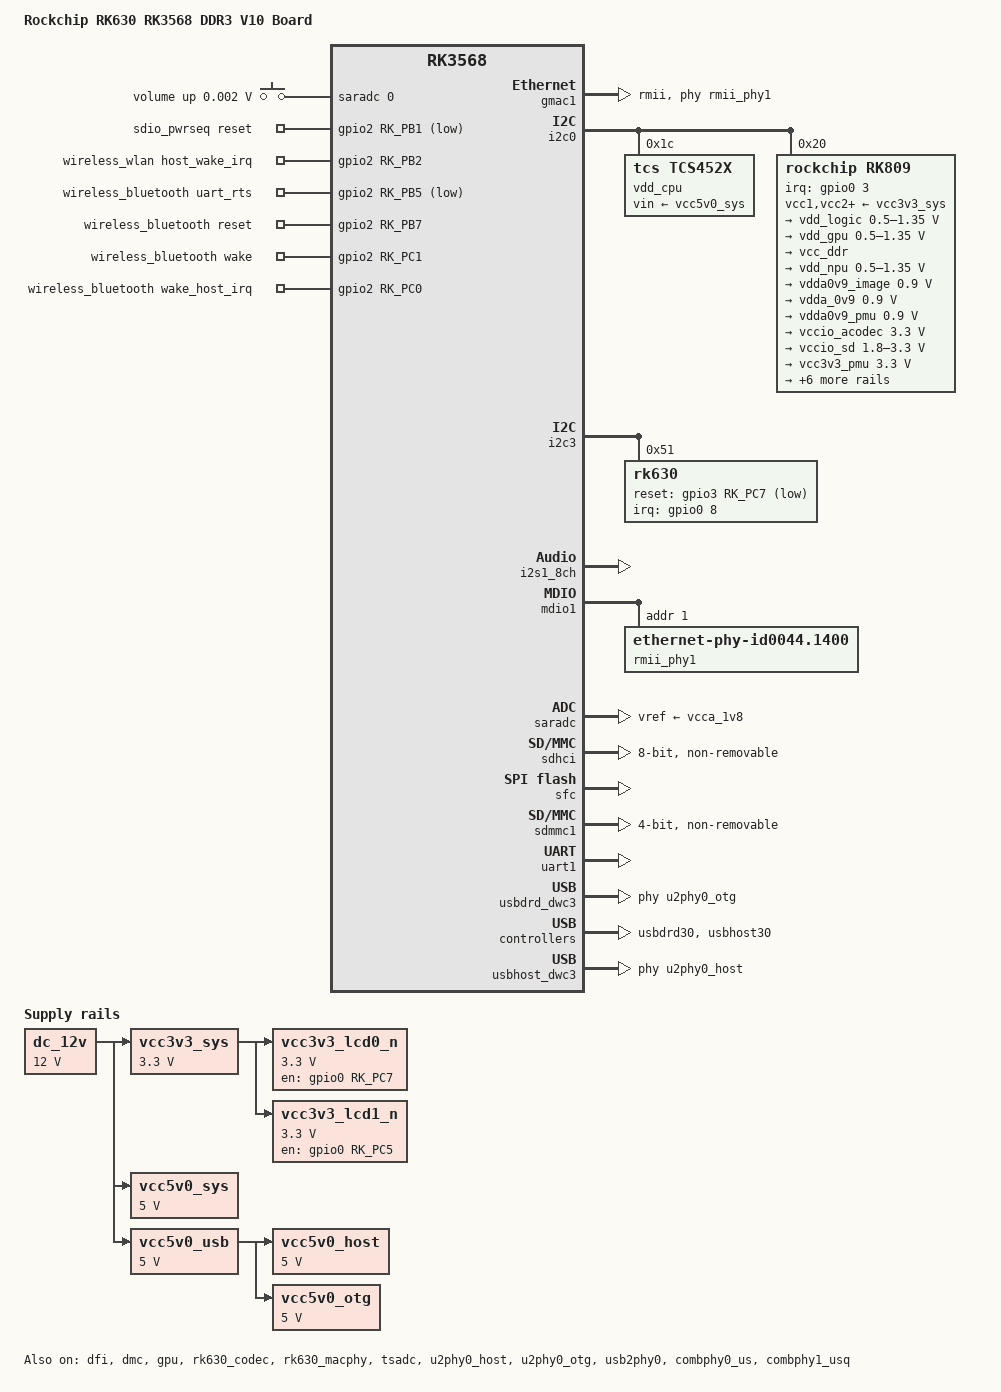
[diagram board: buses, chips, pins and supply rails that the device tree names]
// SPDX-License-Identifier: (GPL-2.0+ OR MIT)
/*
 * Copyright (c) 2022 Rockchip Electronics Co., Ltd.
 *
 */

/dts-v1/;

#include <dt-bindings/gpio/gpio.h>
#include <dt-bindings/pwm/pwm.h>
#include <dt-bindings/pinctrl/rockchip.h>
#include <dt-bindings/input/rk-input.h>
#include <dt-bindings/display/drm_mipi_dsi.h>
#include <dt-bindings/sensor-dev.h>
#include "rk3568.dtsi"

/ {
	model = "Rockchip RK630 RK3568 DDR3 V10 Board";
	compatible = "rockchip,rk630-rk3568-ddr3-v10", "rockchip,rk3568";

	chosen: chosen {
		bootargs = "earlycon=uart8250,mmio32,0xfe660000 console=ttyFIQ0 root=PARTUUID=614e0000-0000 rw rootwait";
	};

	fiq-debugger {
		compatible = "rockchip,fiq-debugger";
		rockchip,serial-id = <2>;
		rockchip,wake-irq = <0>;
		/* If enable uart uses irq instead of fiq */
		rockchip,irq-mode-enable = <1>;
		rockchip,baudrate = <1500000>;  /* Only 115200 and 1500000 */
		interrupts = <GIC_SPI 252 IRQ_TYPE_LEVEL_LOW>;
		pinctrl-names = "default";
		pinctrl-0 = <&uart2m0_xfer>;
		status = "okay";
	};

	debug: debug@fd904000 {
		compatible = "rockchip,debug";
		reg = <0x0 0xfd904000 0x0 0x1000>,
			<0x0 0xfd905000 0x0 0x1000>,
			<0x0 0xfd906000 0x0 0x1000>,
			<0x0 0xfd907000 0x0 0x1000>;
	};

	cspmu: cspmu@fd90c000 {
		compatible = "rockchip,cspmu";
		reg = <0x0 0xfd90c000 0x0 0x1000>,
			<0x0 0xfd90d000 0x0 0x1000>,
			<0x0 0xfd90e000 0x0 0x1000>,
			<0x0 0xfd90f000 0x0 0x1000>;
	};

	adc_keys: adc-keys {
		compatible = "adc-keys";
		io-channels = <&saradc 0>;
		io-channel-names = "buttons";
		keyup-threshold-microvolt = <1800000>;
		poll-interval = <100>;

		vol-up-key {
			label = "volume up";
			linux,code = <KEY_VOLUMEUP>;
			press-threshold-microvolt = <1750>;
		};
	};

	dc_12v: dc-12v {
		compatible = "regulator-fixed";
		regulator-name = "dc_12v";
		regulator-always-on;
		regulator-boot-on;
		regulator-min-microvolt = <12000000>;
		regulator-max-microvolt = <12000000>;
	};

	rk630_sound: rk630-sound {
		status = "okay";
		compatible = "simple-audio-card";
		simple-audio-card,format = "i2s";
		simple-audio-card,name = "rockchip,rk630-codec";
		simple-audio-card,mclk-fs = <256>;
		simple-audio-card,cpu {
			sound-dai = <&i2s1_8ch>;
		};
		simple-audio-card,codec {
			sound-dai = <&rk630_codec>;
		};
	};

	vcc3v3_sys: vcc3v3-sys {
		compatible = "regulator-fixed";
		regulator-name = "vcc3v3_sys";
		regulator-always-on;
		regulator-boot-on;
		regulator-min-microvolt = <3300000>;
		regulator-max-microvolt = <3300000>;
		vin-supply = <&dc_12v>;
	};

	vcc5v0_sys: vcc5v0-sys {
		compatible = "regulator-fixed";
		regulator-name = "vcc5v0_sys";
		regulator-always-on;
		regulator-boot-on;
		regulator-min-microvolt = <5000000>;
		regulator-max-microvolt = <5000000>;
		vin-supply = <&dc_12v>;
	};

	vcc5v0_usb: vcc5v0-usb {
		compatible = "regulator-fixed";
		regulator-name = "vcc5v0_usb";
		regulator-always-on;
		regulator-boot-on;
		regulator-min-microvolt = <5000000>;
		regulator-max-microvolt = <5000000>;
		vin-supply = <&dc_12v>;
	};

	vcc5v0_host: vcc5v0-host-regulator {
		compatible = "regulator-fixed";
		regulator-name = "vcc5v0_host";
		regulator-boot-on;
		regulator-always-on;
		regulator-min-microvolt = <5000000>;
		regulator-max-microvolt = <5000000>;
		vin-supply = <&vcc5v0_usb>;
	};

	vcc5v0_otg: vcc5v0-otg-regulator {
		compatible = "regulator-fixed";
		regulator-name = "vcc5v0_otg";
		regulator-boot-on;
		regulator-always-on;
		regulator-min-microvolt = <5000000>;
		regulator-max-microvolt = <5000000>;
		vin-supply = <&vcc5v0_usb>;
	};

	vcc3v3_lcd0_n: vcc3v3-lcd0-n {
		compatible = "regulator-fixed";
		regulator-name = "vcc3v3_lcd0_n";
		regulator-boot-on;
		regulator-min-microvolt = <3300000>;
		regulator-max-microvolt = <3300000>;
		enable-active-high;
		gpio = <&gpio0 RK_PC7 GPIO_ACTIVE_HIGH>;
		vin-supply = <&vcc3v3_sys>;

		regulator-state-mem {
			regulator-off-in-suspend;
		};
	};

	vcc3v3_lcd1_n: vcc3v3-lcd1-n {
		compatible = "regulator-fixed";
		regulator-name = "vcc3v3_lcd1_n";
		regulator-boot-on;
		regulator-min-microvolt = <3300000>;
		regulator-max-microvolt = <3300000>;
		enable-active-high;
		gpio = <&gpio0 RK_PC5 GPIO_ACTIVE_HIGH>;
		vin-supply = <&vcc3v3_sys>;

		regulator-state-mem {
			regulator-off-in-suspend;
		};
	};

	sdio_pwrseq: sdio-pwrseq {
		compatible = "mmc-pwrseq-simple";
		clocks = <&pmucru CLK_RTC_32K>;
		clock-names = "ext_clock";
		pinctrl-names = "default";
		pinctrl-0 = <&wifi_enable_h &wifi_32k>;

		/*
		 * On the module itself this is one of these (depending
		 * on the actual card populated):
		 * - SDIO_RESET_L_WL_REG_ON
		 * - PDN (power down when low)
		 */
		post-power-on-delay-ms = <200>;
		reset-gpios = <&gpio2 RK_PB1 GPIO_ACTIVE_LOW>;
	};

	wireless_wlan: wireless-wlan {
		compatible = "wlan-platdata";
		rockchip,grf = <&grf>;
		wifi_chip_type = "ap6398s";
		status = "okay";
	};

	wireless_bluetooth: wireless-bluetooth {
		compatible = "bluetooth-platdata";
		clocks = <&pmucru CLK_RTC_32K>;
		clock-names = "ext_clock";
		uart_rts_gpios = <&gpio2 RK_PB5 GPIO_ACTIVE_LOW>;
		pinctrl-names = "default", "rts_gpio";
		pinctrl-0 = <&uart1m0_rtsn>;
		pinctrl-1 = <&uart1_gpios>;
		BT,reset_gpio    = <&gpio2 RK_PB7 GPIO_ACTIVE_HIGH>;
		BT,wake_gpio     = <&gpio2 RK_PC1 GPIO_ACTIVE_HIGH>;
		BT,wake_host_irq = <&gpio2 RK_PC0 GPIO_ACTIVE_HIGH>;
		status = "okay";
	};
};

&reserved_memory {
	ramoops: ramoops@110000 {
		compatible = "ramoops";
		reg = <0x0 0x110000 0x0 0xf0000>;
		record-size = <0x20000>;
		console-size = <0x80000>;
		ftrace-size = <0x00000>;
		pmsg-size = <0x50000>;
	};
};

&cpu0 {
	cpu-supply = <&vdd_cpu>;
};

&dfi {
	status = "okay";
};

&dmc {
	center-supply = <&vdd_logic>;
	status = "okay";
};

&gmac1_clkin {
	clock-frequency = <50000000>;
};

&gmac1 {
	phy-mode = "rmii";
	clock_in_out = "input";

	assigned-clocks = <&cru SCLK_GMAC1_RX_TX>, <&cru SCLK_GMAC1>;
	assigned-clock-parents = <&cru SCLK_GMAC1_RMII_SPEED>, <&gmac1_clkin>;

	pinctrl-names = "default";
	pinctrl-0 = <&gmac1m1_miim
		     &gmac1m1_tx_bus2
		     &gmac1m1_rx_bus2
		     &gmac1m1_clkinout>;

	phy-handle = <&rmii_phy1>;
	status = "okay";
};

&gpu {
	mali-supply = <&vdd_gpu>;
	status = "okay";
};

&i2c0 {
	status = "okay";

	vdd_cpu: tcs4525@1c {
		compatible = "tcs,tcs452x";
		reg = <0x1c>;
		vin-supply = <&vcc5v0_sys>;
		regulator-compatible = "fan53555-reg";
		regulator-name = "vdd_cpu";
		regulator-min-microvolt = <712500>;
		regulator-max-microvolt = <1390000>;
		regulator-init-microvolt = <900000>;
		regulator-ramp-delay = <2300>;
		fcs,suspend-voltage-selector = <1>;
		regulator-boot-on;
		regulator-always-on;
		regulator-state-mem {
			regulator-off-in-suspend;
		};
	};

	rk809: pmic@20 {
		compatible = "rockchip,rk809";
		reg = <0x20>;
		interrupt-parent = <&gpio0>;
		interrupts = <3 IRQ_TYPE_LEVEL_LOW>;

		pinctrl-names = "default", "pmic-sleep",
				"pmic-power-off", "pmic-reset";
		pinctrl-0 = <&pmic_int>;
		pinctrl-1 = <&soc_slppin_slp>, <&rk817_slppin_slp>;
		pinctrl-2 = <&soc_slppin_gpio>, <&rk817_slppin_pwrdn>;
		pinctrl-3 = <&soc_slppin_gpio>, <&rk817_slppin_rst>;

		rockchip,system-power-controller;
		wakeup-source;
		#clock-cells = <1>;
		clock-output-names = "rk808-clkout1", "rk808-clkout2";
		/* 1: rst regs (default in codes), 0: rst the pmic */
		pmic-reset-func = <0>;
		/* not save the PMIC_POWER_EN register in uboot */
		not-save-power-en = <1>;

		vcc1-supply = <&vcc3v3_sys>;
		vcc2-supply = <&vcc3v3_sys>;
		vcc3-supply = <&vcc3v3_sys>;
		vcc4-supply = <&vcc3v3_sys>;
		vcc5-supply = <&vcc3v3_sys>;
		vcc6-supply = <&vcc3v3_sys>;
		vcc7-supply = <&vcc3v3_sys>;
		vcc8-supply = <&vcc3v3_sys>;
		vcc9-supply = <&vcc3v3_sys>;

		pwrkey {
			status = "okay";
		};

		pinctrl_rk8xx: pinctrl_rk8xx {
			gpio-controller;
			#gpio-cells = <2>;

			rk817_slppin_null: rk817_slppin_null {
				pins = "gpio_slp";
				function = "pin_fun0";
			};

			rk817_slppin_slp: rk817_slppin_slp {
				pins = "gpio_slp";
				function = "pin_fun1";
			};

			rk817_slppin_pwrdn: rk817_slppin_pwrdn {
				pins = "gpio_slp";
				function = "pin_fun2";
			};

			rk817_slppin_rst: rk817_slppin_rst {
				pins = "gpio_slp";
				function = "pin_fun3";
			};
		};

		regulators {
			vdd_logic: DCDC_REG1 {
				regulator-always-on;
				regulator-boot-on;
				regulator-min-microvolt = <500000>;
				regulator-max-microvolt = <1350000>;
				regulator-init-microvolt = <900000>;
				regulator-ramp-delay = <6001>;
				regulator-initial-mode = <0x2>;
				regulator-name = "vdd_logic";
				regulator-state-mem {
					regulator-off-in-suspend;
				};
			};

			vdd_gpu: DCDC_REG2 {
				regulator-always-on;
				regulator-boot-on;
				regulator-min-microvolt = <500000>;
				regulator-max-microvolt = <1350000>;
				regulator-init-microvolt = <900000>;
				regulator-ramp-delay = <6001>;
				regulator-initial-mode = <0x2>;
				regulator-name = "vdd_gpu";
				regulator-state-mem {
					regulator-off-in-suspend;
				};
			};

			vcc_ddr: DCDC_REG3 {
				regulator-always-on;
				regulator-boot-on;
				regulator-initial-mode = <0x2>;
				regulator-name = "vcc_ddr";
				regulator-state-mem {
					regulator-on-in-suspend;
				};
			};

			vdd_npu: DCDC_REG4 {
				regulator-always-on;
				regulator-boot-on;
				regulator-min-microvolt = <500000>;
				regulator-max-microvolt = <1350000>;
				regulator-init-microvolt = <900000>;
				regulator-ramp-delay = <6001>;
				regulator-initial-mode = <0x2>;
				regulator-name = "vdd_npu";
				regulator-state-mem {
					regulator-off-in-suspend;
				};
			};

			vdda0v9_image: LDO_REG1 {
				regulator-boot-on;
				regulator-always-on;
				regulator-min-microvolt = <900000>;
				regulator-max-microvolt = <900000>;
				regulator-name = "vdda0v9_image";
				regulator-state-mem {
					regulator-off-in-suspend;
				};
			};

			vdda_0v9: LDO_REG2 {
				regulator-always-on;
				regulator-boot-on;
				regulator-min-microvolt = <900000>;
				regulator-max-microvolt = <900000>;
				regulator-name = "vdda_0v9";
				regulator-state-mem {
					regulator-off-in-suspend;
				};
			};

			vdda0v9_pmu: LDO_REG3 {
				regulator-always-on;
				regulator-boot-on;
				regulator-min-microvolt = <900000>;
				regulator-max-microvolt = <900000>;
				regulator-name = "vdda0v9_pmu";
				regulator-state-mem {
					regulator-on-in-suspend;
					regulator-suspend-microvolt = <900000>;
				};
			};

			vccio_acodec: LDO_REG4 {
				regulator-always-on;
				regulator-boot-on;
				regulator-min-microvolt = <3300000>;
				regulator-max-microvolt = <3300000>;
				regulator-name = "vccio_acodec";
				regulator-state-mem {
					regulator-off-in-suspend;
				};
			};

			vccio_sd: LDO_REG5 {
				regulator-always-on;
				regulator-boot-on;
				regulator-min-microvolt = <1800000>;
				regulator-max-microvolt = <3300000>;
				regulator-name = "vccio_sd";
				regulator-state-mem {
					regulator-off-in-suspend;
				};
			};

			vcc3v3_pmu: LDO_REG6 {
				regulator-always-on;
				regulator-boot-on;
				regulator-min-microvolt = <3300000>;
				regulator-max-microvolt = <3300000>;
				regulator-name = "vcc3v3_pmu";
				regulator-state-mem {
					regulator-on-in-suspend;
					regulator-suspend-microvolt = <3300000>;
				};
			};

			vcca_1v8: LDO_REG7 {
				regulator-always-on;
				regulator-boot-on;
				regulator-min-microvolt = <1800000>;
				regulator-max-microvolt = <1800000>;
				regulator-name = "vcca_1v8";
				regulator-state-mem {
					regulator-off-in-suspend;
				};
			};

			vcca1v8_pmu: LDO_REG8 {
				regulator-always-on;
				regulator-boot-on;
				regulator-min-microvolt = <1800000>;
				regulator-max-microvolt = <1800000>;
				regulator-name = "vcca1v8_pmu";
				regulator-state-mem {
					regulator-on-in-suspend;
					regulator-suspend-microvolt = <1800000>;
				};
			};

			vcca1v8_image: LDO_REG9 {
				regulator-always-on;
				regulator-boot-on;
				regulator-min-microvolt = <1800000>;
				regulator-max-microvolt = <1800000>;
				regulator-name = "vcca1v8_image";
				regulator-state-mem {
					regulator-off-in-suspend;
				};
			};

			vcc_1v8: DCDC_REG5 {
				regulator-always-on;
				regulator-boot-on;
				regulator-min-microvolt = <1800000>;
				regulator-max-microvolt = <1800000>;
				regulator-name = "vcc_1v8";
				regulator-state-mem {
					regulator-off-in-suspend;
				};
			};

			vcc_3v3: SWITCH_REG1 {
				regulator-always-on;
				regulator-boot-on;
				regulator-name = "vcc_3v3";
				regulator-state-mem {
					regulator-off-in-suspend;
				};
			};

			vcc3v3_sd: SWITCH_REG2 {
				regulator-always-on;
				regulator-boot-on;
				regulator-name = "vcc3v3_sd";
				regulator-state-mem {
					regulator-off-in-suspend;
				};
			};
		};
	};
};

&i2c3 {
	status = "okay";

	rk630: rk630@51 {
		reg = <0x51>;
		interrupt-parent = <&gpio0>;
		interrupts = <8 IRQ_TYPE_LEVEL_LOW>;
		reset-gpios = <&gpio3 RK_PC7 GPIO_ACTIVE_LOW>;
		clocks = <&cru CLK_MAC1_OUT>;
		clock-names = "ref";
		assigned-clocks = <&cru CLK_MAC1_OUT>;
		assigned-clock-rates = <25000000>;
		pinctrl-names = "default";
		pinctrl-0 = <&eth1m1_pins>;
		status = "okay";
	};
};

&i2s1_8ch {
	status = "okay";
	#sound-dai-cells = <0>;
	rockchip,clk-trcm = <1>;
	pinctrl-names = "default";
	pinctrl-0 = <&i2s1m0_sclktx
		     &i2s1m0_lrcktx
		     &i2s1m0_sdi0
		     &i2s1m0_sdo0>;
};

#include "rk630.dtsi"

&mdio1 {
	rmii_phy1: phy@1 {
		compatible = "ethernet-phy-id0044.1400", "ethernet-phy-ieee802.3-c22";
		reg = <0x1>;
	};
};

&pinctrl {
	pmic {
		pmic_int: pmic_int {
			rockchip,pins =
				<0 RK_PA3 RK_FUNC_GPIO &pcfg_pull_up>;
		};

		soc_slppin_gpio: soc_slppin_gpio {
			rockchip,pins =
				<0 RK_PA2 RK_FUNC_GPIO &pcfg_output_low_pull_down>;
		};

		soc_slppin_slp: soc_slppin_slp {
			rockchip,pins =
				<0 RK_PA2 1 &pcfg_pull_up>;
		};

		soc_slppin_rst: soc_slppin_rst {
			rockchip,pins =
				<0 RK_PA2 2 &pcfg_pull_none>;
		};
	};

	sdio-pwrseq {
		wifi_enable_h: wifi-enable-h {
			rockchip,pins = <2 RK_PB1 RK_FUNC_GPIO &pcfg_pull_none>;
		};

		wifi_32k: wifi-32k {
			rockchip,pins = <2 RK_PC6 1 &pcfg_pull_none>;
		};
	};

	wireless-wlan {
		wifi_host_wake_irq: wifi-host-wake-irq {
			rockchip,pins = <2 RK_PB2 RK_FUNC_GPIO &pcfg_pull_down>;
		};
	};

	wireless-bluetooth {
		uart1_gpios: uart1-gpios {
			rockchip,pins = <2 RK_PB5 RK_FUNC_GPIO &pcfg_pull_none>;
		};
	};
};

 /*
  * There are 10 independent IO domains in RK3566/RK3568, including PMUIO[0:2] and VCCIO[1:7].
  * 1/ PMUIO0 and PMUIO1 are fixed-level power domains which cannot be configured;
  * 2/ PMUIO2 and VCCIO1,VCCIO[3:7] domains require that their hardware power supply voltages
  *    must be consistent with the software configuration correspondingly
  *	a/ When the hardware IO level is connected to 1.8V, the software voltage configuration
  *	   should also be configured to 1.8V accordingly;
  *	b/ When the hardware IO level is connected to 3.3V, the software voltage configuration
  *	   should also be configured to 3.3V accordingly;
  * 3/ VCCIO2 voltage control selection (0xFDC20140)
  *	BIT[0]: 0x0: from GPIO_0A7 (default)
  *	BIT[0]: 0x1: from GRF
  *    Default is determined by Pin FLASH_VOL_SEL/GPIO0_A7:
  *	L:VCCIO2 must supply 3.3V
  *	H:VCCIO2 must supply 1.8V
  */
&pmu_io_domains {
	status = "okay";
	pmuio2-supply = <&vcc3v3_pmu>;
	vccio1-supply = <&vccio_acodec>;
	vccio3-supply = <&vccio_sd>;
	vccio4-supply = <&vcc_1v8>;
	vccio5-supply = <&vcc_3v3>;
	vccio6-supply = <&vcc_1v8>;
	vccio7-supply = <&vcc_3v3>;
};

&rk630_codec {
	status = "okay";
	#sound-dai-cells = <0>;
	compatible = "rockchip,rk630-codec";
	clocks = <&cru I2S1_MCLKOUT>;
	clock-names = "mclk";
	assigned-clocks = <&cru I2S1_MCLKOUT>, <&cru I2S1_MCLK_TX_IOE>;
	assigned-clock-rates = <11289600>;
	assigned-clock-parents = <&cru I2S1_MCLKOUT_TX>, <&cru I2S1_MCLKOUT_TX>;
	pinctrl-names = "default";
	pinctrl-0 = <&i2s1m0_mclk>;
	spk-ctl-gpios = <&gpio3 RK_PD3 GPIO_ACTIVE_HIGH>;
	capture_volume = <31>;
	hp_volume = <26>;
	spk_volume = <26>;
	gpio_debug;
};

&rk630_macphy {
	status = "okay";
};

&saradc {
	status = "okay";
	vref-supply = <&vcca_1v8>;
};

&sdhci {
	bus-width = <8>;
	supports-emmc;
	non-removable;
	max-frequency = <200000000>;
	status = "okay";
};

&sfc {
	status = "okay";
};

&tsadc {
	status = "okay";
};

&sdmmc1 {
	max-frequency = <150000000>;
	supports-sdio;
	bus-width = <4>;
	disable-wp;
	cap-sd-highspeed;
	cap-sdio-irq;
	keep-power-in-suspend;
	mmc-pwrseq = <&sdio_pwrseq>;
	non-removable;
	pinctrl-names = "default";
	pinctrl-0 = <&sdmmc1_bus4 &sdmmc1_cmd &sdmmc1_clk>;
	sd-uhs-sdr104;
	status = "okay";
};

&uart1 {
	status = "okay";
	pinctrl-names = "default";
	pinctrl-0 = <&uart1m0_xfer &uart1m0_ctsn>;
};

&wireless_wlan {
	pinctrl-names = "default";
	pinctrl-0 = <&wifi_host_wake_irq>;
	WIFI,host_wake_irq = <&gpio2 RK_PB2 GPIO_ACTIVE_HIGH>;
};

&u2phy0_host {
	phy-supply = <&vcc5v0_host>;
	status = "okay";
};

&u2phy0_otg {
	vbus-supply = <&vcc5v0_otg>;
	status = "okay";
};

&u2phy1_host {
	phy-supply = <&vcc5v0_host>;
	status = "disabled";
};

&u2phy1_otg {
	phy-supply = <&vcc5v0_host>;
	status = "disabled";
};

&usb2phy0 {
	status = "okay";
};

&usb2phy1 {
	status = "disabled";
};

&usb_host0_ehci {
	status = "disabled";
};

&usb_host0_ohci {
	status = "disabled";
};

&usb_host1_ehci {
	status = "disabled";
};

&usb_host1_ohci {
	status = "disabled";
};

&usbdrd_dwc3 {
	phys = <&u2phy0_otg>;
	phy-names = "usb2-phy";
	extcon = <&usb2phy0>;
	maximum-speed = "high-speed";
	snps,dis_u2_susphy_quirk;
	status = "okay";
};

&usbdrd30 {
	status = "okay";
};

&usbhost30 {
	status = "okay";
};

&combphy0_us {
	rockchip,dis-u3otg0-port;
	status = "okay";
};

&combphy1_usq {
	rockchip,dis-u3otg1-port;
	status = "okay";
};

&combphy2_psq {
	status = "disabled";
};

&usbhost_dwc3 {
	phys = <&u2phy0_host>;
	phy-names = "usb2-phy";
	maximum-speed = "high-speed";
	status = "okay";
};

&xin32k {
	status = "disabled";
};
